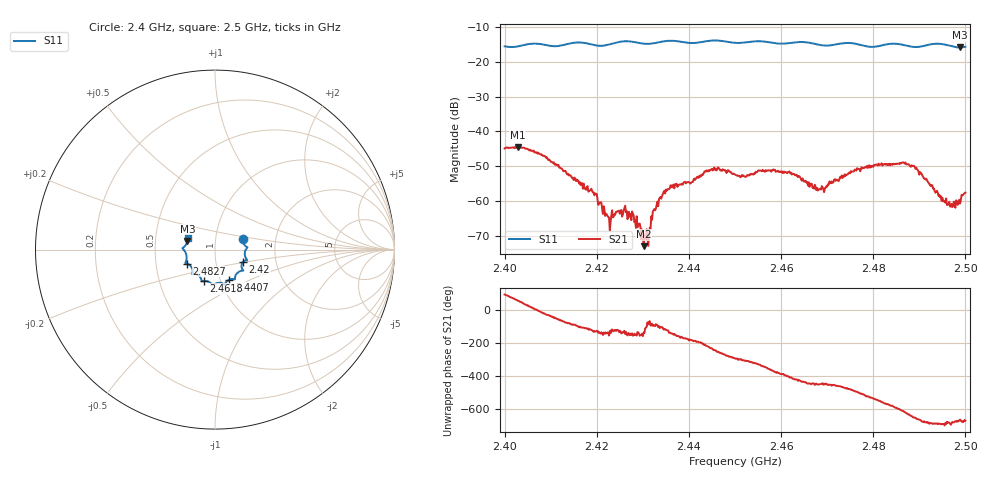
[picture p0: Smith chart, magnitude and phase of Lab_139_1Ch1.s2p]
# Hz S RI R 50
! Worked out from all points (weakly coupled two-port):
!   601 points, 2.4 GHz to 2.5 GHz, reference 50 ohm
!   highest |S21| = -44.46 dB at 2.4028 GHz (marker M1); lowest = -73.0 dB at 2.4302 GHz (marker M2)
!   lowest |S11| = -15.9 dB at 2.4988 GHz (marker M3), VSWR 1.38, Z = 36.6 + j3.42 ohm
!   |S11| at or under -10 dB: start of sweep to end of sweep
!   S12 and S22 are empty: the file has one direction only
!   S11 on the Smith chart (normalised r, x): 2.4 GHz: 1.35, +0.17; 2.42 GHz: 1.35, -0.19; 2.4407 GHz: 1.10, -0.38; 2.4618 GHz: 0.83, -0.30; 2.4827 GHz: 0.72, -0.12; 2.5 GHz: 0.73, +0.10
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2.4e9  0.1544 0.0614  -0.000689 0.00564  0 0  0 0
2.402833e9  0.1636 0.0265  0.00301 0.00518  0 0  0 0
2.408667e9  0.1752 0.00583  0.0042 -0.00141  0 0  0 0
2.416667e9  0.1789 -0.0589  -0.000404 -0.00175  0 0  0 0
2.42e9  0.1562 -0.069  -0.000702 -0.00105  0 0  0 0
2.4225e9  0.1477 -0.0943  -0.000425 -0.000409  0 0  0 0
2.4275e9  0.1552 -0.1172  -0.000447 -0.000284  0 0  0 0
2.430167e9  0.1323 -0.1245  -0.000156 -0.000162  0 0  0 0
2.431167e9  0.1229 -0.1323  2.3e-05 -0.000226  0 0  0 0
2.433333e9  0.1117 -0.1529  -0.00016 -0.000827  0 0  0 0
2.436167e9  0.1111 -0.1661  -0.00128 -0.00109  0 0  0 0
2.440667e9  0.0791 -0.1676  -0.00186 5.58e-05  0 0  0 0
2.445333e9  0.0534 -0.1945  -0.00141 0.0025  0 0  0 0
2.45e9  0.027 -0.1847  0.000868 0.00225  0 0  0 0
2.461833e9  -0.0615 -0.1749  0.00178 -0.00197  0 0  0 0
2.466667e9  -0.0758 -0.1682  0.000147 -0.00175  0 0  0 0
2.482667e9  -0.158 -0.0779  -0.00299 0.00146  0 0  0 0
2.483333e9  -0.1622 -0.0768  -0.00278 0.00177  0 0  0 0
2.488833e9  -0.1585 -0.0373  0.00117 0.00298  0 0  0 0
2.495667e9  -0.1752 0.0129  0.000774 0.000549  0 0  0 0
2.498833e9  -0.1535 0.0456  0.000511 0.000763  0 0  0 0
2.5e9  -0.151 0.0631  0.000856 0.00101  0 0  0 0
